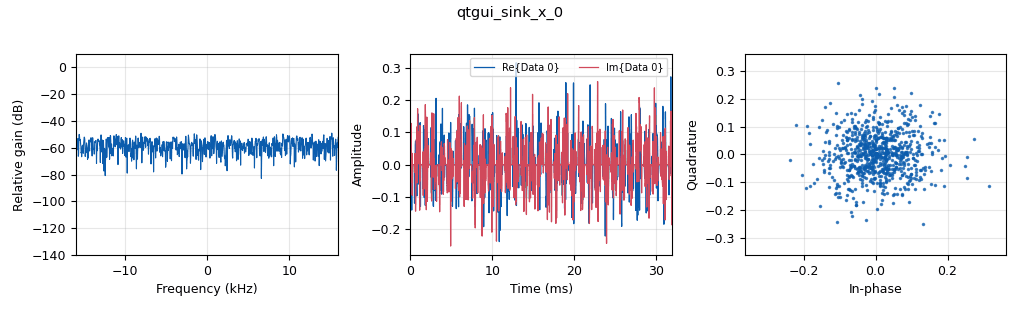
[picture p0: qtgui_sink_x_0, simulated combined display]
options:
  parameters:
    generate_options: qt_gui
    id: qpsk
    output_language: python
    title: QPSK
  states: {}

blocks:
- name: samp_rate
  id: variable
  parameters:
    value: '32000'
  states: {}
- name: analog_noise_source_x_0
  id: analog_noise_source_x
  parameters:
    amp: '0.1'
    noise_type: analog.GR_GAUSSIAN
    seed: '0'
    type: complex
  states: {}
- name: analog_sig_source_x_0
  id: analog_sig_source_x
  parameters:
    amp: '1'
    freq: '1000'
    offset: '0'
    phase: '0'
    samp_rate: samp_rate
    type: complex
    waveform: analog.GR_SQR_WAVE
  states: {}
- name: blocks_multiply_xx_0
  id: blocks_multiply_xx
  parameters:
    type: complex
  states: {}
- name: blocks_throttle_0
  id: blocks_throttle
  parameters:
    samples_per_second: samp_rate
    type: complex
  states: {}
- name: qtgui_sink_x_0
  id: qtgui_sink_x
  parameters:
    bw: samp_rate
    fc: '0'
    fftsize: '1024'
    type: complex
  states: {}

connections:
- [analog_noise_source_x_0, '0', blocks_multiply_xx_0, '1']
- [analog_sig_source_x_0, '0', blocks_multiply_xx_0, '0']
- [blocks_multiply_xx_0, '0', blocks_throttle_0, '0']
- [blocks_throttle_0, '0', qtgui_sink_x_0, '0']

metadata:
  file_format: 1
